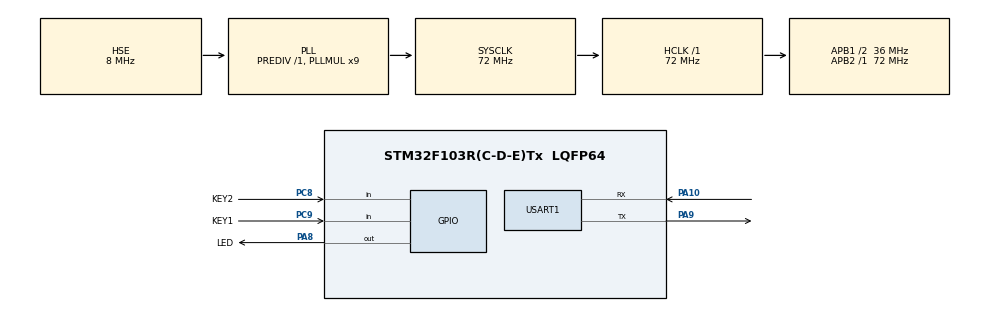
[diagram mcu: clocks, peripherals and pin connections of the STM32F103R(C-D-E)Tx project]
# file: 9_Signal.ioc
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FREERTOS.Tasks01=defaultTask,0,128,StartDefaultTask,Default,NULL,Dynamic,NULL,NULL
Mcu.Family=STM32F1
Mcu.Name=STM32F103R(C-D-E)Tx
Mcu.Package=LQFP64
NVIC.PriorityGroup=NVIC_PRIORITYGROUP_4
NVIC.TIM8_UP_IRQn=true\:15\:0\:false\:false\:true\:false\:false\:true\:true
NVIC.TimeBase=TIM8_UP_IRQn
NVIC.TimeBaseIP=TIM8
PA10.Mode=Asynchronous
PA10.Signal=USART1_RX
PA13.Mode=Serial_Wire
PA13.Signal=SYS_JTMS-SWDIO
PA14.Mode=Serial_Wire
PA14.Signal=SYS_JTCK-SWCLK
PA8.GPIO_Label=LED
PA8.Signal=GPIO_Output
PA9.Mode=Asynchronous
PA9.Signal=USART1_TX
PC8.GPIO_Label=KEY2
PC8.GPIO_PuPd=GPIO_PULLUP
PC8.Signal=GPIO_Input
PC9.GPIO_Label=KEY1
PC9.GPIO_PuPd=GPIO_PULLUP
PC9.Signal=GPIO_Input
PD0-OSC_IN.Mode=HSE-External-Oscillator
PD0-OSC_IN.Signal=RCC_OSC_IN
PD1-OSC_OUT.Mode=HSE-External-Oscillator
PD1-OSC_OUT.Signal=RCC_OSC_OUT
ProjectManager.HeapSize=0x200
ProjectManager.StackSize=0x400
ProjectManager.TargetToolchain=Makefile
RCC.AHBFreq_Value=72000000
RCC.APB1CLKDivider=RCC_HCLK_DIV2
RCC.APB1Freq_Value=36000000
RCC.APB1TimFreq_Value=72000000
RCC.APB2Freq_Value=72000000
RCC.APB2TimFreq_Value=72000000
RCC.HCLKFreq_Value=72000000
RCC.PLLMUL=RCC_PLL_MUL9
RCC.PLLSourceVirtual=RCC_PLLSOURCE_HSE
RCC.SYSCLKFreq_VALUE=72000000
RCC.SYSCLKSource=RCC_SYSCLKSOURCE_PLLCLK
RCC.USBFreq_Value=72000000
USART1.VirtualMode=VM_ASYNC
VP_FREERTOS_VS_CMSIS_V1.Mode=CMSIS_V1
VP_SYS_VS_tim8.Mode=TIM8
board=custom

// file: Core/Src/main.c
/* USER CODE BEGIN Header */
/**
  ******************************************************************************
  * @file           : main.c
  * @brief          : Main program body
  ******************************************************************************
  * @attention
  *
  * Copyright (c) 2023 STMicroelectronics.
  * All rights reserved.
  *
  * This software is licensed under terms that can be found in the LICENSE file
  * in the root directory of this software component.
  * If no LICENSE file comes with this software, it is provided AS-IS.
  *
  ******************************************************************************
  */
/* USER CODE END Header */
#include "main.h"
#include "cmsis_os.h"
#include "usart.h"
#include "gpio.h"

void SystemClock_Config(void);
void MX_FREERTOS_Init(void);

int main(void)
{

  /* MCU Configuration--------------------------------------------------------*/

  /* Reset of all peripherals, Initializes the Flash interface and the Systick. */
  HAL_Init();

  /* Configure the system clock */
  SystemClock_Config();

  /* Initialize all configured peripherals */
  MX_GPIO_Init();
  MX_USART1_UART_Init();

  /* Call init function for freertos objects (in freertos.c) */
  MX_FREERTOS_Init();

  /* Start scheduler */
  osKernelStart();

  /* We should never get here as control is now taken by the scheduler */
  /* Infinite loop */
  while (1)
  {

  }
}

void SystemClock_Config(void)
{
  RCC_OscInitTypeDef RCC_OscInitStruct = {0};
  RCC_ClkInitTypeDef RCC_ClkInitStruct = {0};

  /** Initializes the RCC Oscillators according to the specified parameters
  * in the RCC_OscInitTypeDef structure.
  */
  RCC_OscInitStruct.OscillatorType = RCC_OSCILLATORTYPE_HSE;
  RCC_OscInitStruct.HSEState = RCC_HSE_ON;
  RCC_OscInitStruct.HSEPredivValue = RCC_HSE_PREDIV_DIV1;
  RCC_OscInitStruct.HSIState = RCC_HSI_ON;
  RCC_OscInitStruct.PLL.PLLState = RCC_PLL_ON;
  RCC_OscInitStruct.PLL.PLLSource = RCC_PLLSOURCE_HSE;
  RCC_OscInitStruct.PLL.PLLMUL = RCC_PLL_MUL9;
  if (HAL_RCC_OscConfig(&RCC_OscInitStruct) != HAL_OK)
  {
    Error_Handler();
  }

  /** Initializes the CPU, AHB and APB buses clocks
  */
  RCC_ClkInitStruct.ClockType = RCC_CLOCKTYPE_HCLK|RCC_CLOCKTYPE_SYSCLK
                              |RCC_CLOCKTYPE_PCLK1|RCC_CLOCKTYPE_PCLK2;
  RCC_ClkInitStruct.SYSCLKSource = RCC_SYSCLKSOURCE_PLLCLK;
  RCC_ClkInitStruct.AHBCLKDivider = RCC_SYSCLK_DIV1;
  RCC_ClkInitStruct.APB1CLKDivider = RCC_HCLK_DIV2;
  RCC_ClkInitStruct.APB2CLKDivider = RCC_HCLK_DIV1;

  if (HAL_RCC_ClockConfig(&RCC_ClkInitStruct, FLASH_LATENCY_2) != HAL_OK)
  {
    Error_Handler();
  }
}

void HAL_TIM_PeriodElapsedCallback(TIM_HandleTypeDef *htim)
{
  if (htim->Instance == TIM8) {
    HAL_IncTick();
  }
}

void Error_Handler(void)
{
  __disable_irq();
  while (1)
  {
  }
}

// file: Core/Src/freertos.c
/* USER CODE BEGIN Header */
/**
 ******************************************************************************
 * File Name          : freertos.c
 * Description        : Code for freertos applications
 ******************************************************************************
 * @attention
 *
 * Copyright (c) 2023 STMicroelectronics.
 * All rights reserved.
 *
 * This software is licensed under terms that can be found in the LICENSE file
 * in the root directory of this software component.
 * If no LICENSE file comes with this software, it is provided AS-IS.
 *
 ******************************************************************************
 */
/* USER CODE END Header */

#include "FreeRTOS.h"
#include "task.h"
#include "main.h"
#include "cmsis_os.h"

/* USER CODE BEGIN Includes */
#include <stdio.h>
/* USER CODE END Includes */

/* USER CODE BEGIN Variables */
/* 线程定义 */
osThreadId Key_Task_Handle;
osThreadId LED_Task_Handle;
/* USER CODE END Variables */
osThreadId defaultTaskHandle;

/* USER CODE BEGIN FunctionPrototypes */
void Key_Task(void const *argument);
void LED_Task(void const *argument);
/* USER CODE END FunctionPrototypes */

void StartDefaultTask(void const *argument);

void MX_FREERTOS_Init(void); /* (MISRA C 2004 rule 8.1) */

/* GetIdleTaskMemory prototype (linked to static allocation support) */
void vApplicationGetIdleTaskMemory(StaticTask_t **ppxIdleTaskTCBBuffer, StackType_t **ppxIdleTaskStackBuffer, uint32_t *pulIdleTaskStackSize);

/* USER CODE BEGIN GET_IDLE_TASK_MEMORY */
static StaticTask_t xIdleTaskTCBBuffer;
static StackType_t xIdleStack[configMINIMAL_STACK_SIZE];

void vApplicationGetIdleTaskMemory(StaticTask_t **ppxIdleTaskTCBBuffer, StackType_t **ppxIdleTaskStackBuffer, uint32_t *pulIdleTaskStackSize)
{
    *ppxIdleTaskTCBBuffer   = &xIdleTaskTCBBuffer;
    *ppxIdleTaskStackBuffer = &xIdleStack[0];
    *pulIdleTaskStackSize   = configMINIMAL_STACK_SIZE;
    /* place for user code */
}
/* USER CODE END GET_IDLE_TASK_MEMORY */

void MX_FREERTOS_Init(void)
{

    /* Create the thread(s) */
    /* definition and creation of defaultTask */
    osThreadDef(defaultTask, StartDefaultTask, osPriorityNormal, 0, 128);
    defaultTaskHandle = osThreadCreate(osThread(defaultTask), NULL);

    /* USER CODE BEGIN RTOS_THREADS */
    /* add threads, ... */
    osThreadDef(KeyTask, Key_Task, osPriorityNormal, 0, 128);
    Key_Task_Handle = osThreadCreate(osThread(KeyTask), NULL);
    osThreadDef(LEDTask, LED_Task, osPriorityNormal, 0, 128);
    LED_Task_Handle = osThreadCreate(osThread(LEDTask), NULL);
    /* USER CODE END RTOS_THREADS */
}

void StartDefaultTask(void const *argument)
{
    for (;;) {
        osDelay(1);
    }
}

/* USER CODE BEGIN Application */
void LED_Task(void const *argument)
{
    osEvent rx_event;
    for (;;) {
        rx_event = osSignalWait(3, osWaitForever);
        if (rx_event.status == osEventSignal) {
            printf("signal:%ld\r\n", rx_event.value.signals);
        }
    }
}

void Key_Task(void const *argument)
{
    for (;;) {
        if (HAL_GPIO_ReadPin(GPIOC, GPIO_PIN_8) == 0) {
            osSignalSet(LED_Task_Handle, 3);
            printf("Key1 Press!\r\n");
        }
        osDelay(100);
    }
}
/* USER CODE END Application */
